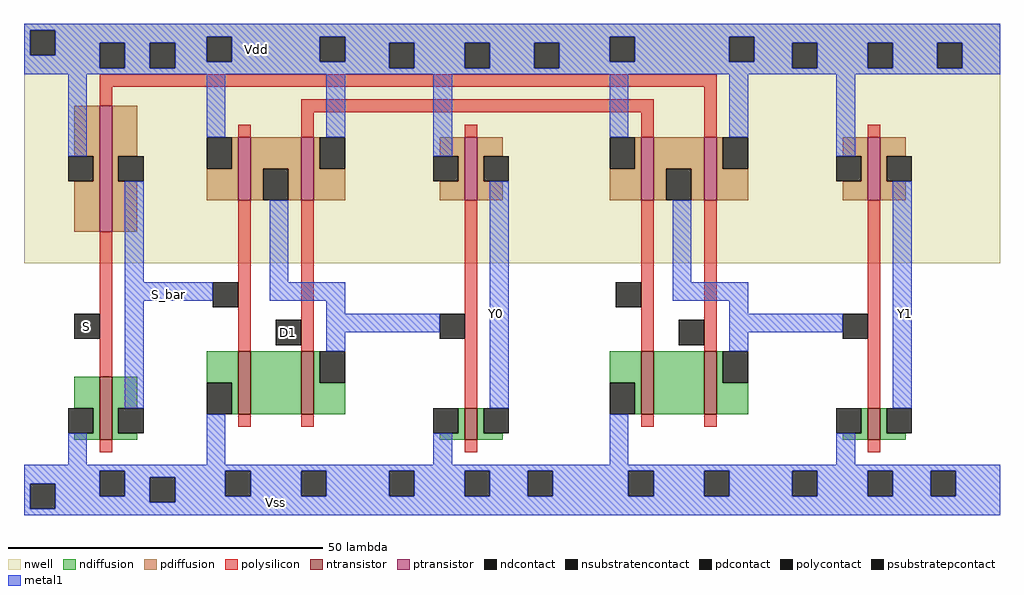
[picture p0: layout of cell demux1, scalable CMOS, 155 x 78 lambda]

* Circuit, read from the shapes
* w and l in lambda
.subckt demux1 D1 S S_bar Vdd Vss Y0 Y1
M1 S_bar S Vss Vss nfet w=10 l=2
M2 n1 S_bar Vss Vss nfet w=10 l=2
M3 n2 D1 n1 Vss nfet w=10 l=2
M4 Y0 n2 Vss Vss nfet w=5 l=2
M5 n3 D1 Vss Vss nfet w=10 l=2
M6 n4 S n3 Vss nfet w=10 l=2
M7 Y1 n4 Vss Vss nfet w=5 l=2
M8 S_bar S Vdd Vdd pfet w=20 l=2
M9 n2 S_bar Vdd Vdd pfet w=10 l=2
M10 Vdd D1 n2 Vdd pfet w=10 l=2
M11 Y0 n2 Vdd Vdd pfet w=10 l=2
M12 n4 D1 Vdd Vdd pfet w=10 l=2
M13 Vdd S n4 Vdd pfet w=10 l=2
M14 Y1 n4 Vdd Vdd pfet w=10 l=2
.ends

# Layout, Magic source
magic
tech scmos
<< nwell >>
rect 0 40 155 78
<< polysilicon >>
rect 12 68 110 70
rect 12 65 14 68
rect 44 64 100 66
rect 34 60 36 62
rect 44 60 46 64
rect 70 60 72 62
rect 98 60 100 64
rect 108 60 110 68
rect 134 60 136 62
rect 12 22 14 45
rect 34 26 36 50
rect 44 26 46 50
rect 70 17 72 50
rect 98 26 100 50
rect 108 26 110 50
rect 34 14 36 16
rect 44 14 46 16
rect 134 17 136 50
rect 98 14 100 16
rect 108 14 110 16
rect 12 10 14 12
rect 70 10 72 12
rect 134 10 136 12
<< ndiffusion >>
rect 8 17 12 22
rect 11 13 12 17
rect 8 12 12 13
rect 14 17 18 22
rect 29 21 34 26
rect 14 13 15 17
rect 33 16 34 21
rect 36 16 44 26
rect 46 21 47 26
rect 46 16 51 21
rect 93 21 98 26
rect 69 13 70 17
rect 14 12 18 13
rect 66 12 70 13
rect 72 13 73 17
rect 97 16 98 21
rect 100 16 108 26
rect 110 21 111 26
rect 110 16 115 21
rect 133 13 134 17
rect 72 12 76 13
rect 130 12 134 13
rect 136 13 137 17
rect 136 12 140 13
<< pdiffusion >>
rect 8 57 12 65
rect 11 53 12 57
rect 8 45 12 53
rect 14 57 18 65
rect 14 53 15 57
rect 33 55 34 60
rect 14 45 18 53
rect 29 50 34 55
rect 36 55 44 60
rect 36 50 38 55
rect 42 50 44 55
rect 46 55 47 60
rect 66 57 70 60
rect 46 50 51 55
rect 69 53 70 57
rect 66 50 70 53
rect 72 57 76 60
rect 72 53 73 57
rect 97 55 98 60
rect 72 50 76 53
rect 93 50 98 55
rect 100 55 108 60
rect 100 50 102 55
rect 106 50 108 55
rect 110 55 111 60
rect 130 57 134 60
rect 110 50 115 55
rect 133 53 134 57
rect 130 50 134 53
rect 136 57 140 60
rect 136 53 137 57
rect 136 50 140 53
<< metal1 >>
rect 0 77 155 78
rect 0 73 1 77
rect 5 76 155 77
rect 5 75 29 76
rect 5 73 12 75
rect 0 71 12 73
rect 16 71 20 75
rect 24 72 29 75
rect 33 72 47 76
rect 51 75 93 76
rect 51 72 58 75
rect 24 71 58 72
rect 62 71 70 75
rect 74 71 81 75
rect 85 72 93 75
rect 97 72 112 76
rect 116 75 155 76
rect 116 72 122 75
rect 85 71 122 72
rect 126 71 134 75
rect 138 71 145 75
rect 149 71 155 75
rect 0 70 155 71
rect 7 57 10 70
rect 29 60 32 70
rect 48 60 51 70
rect 65 57 68 70
rect 93 60 96 70
rect 112 60 115 70
rect 16 37 19 53
rect 129 57 132 70
rect 39 37 42 50
rect 16 34 30 37
rect 16 17 19 34
rect 39 34 51 37
rect 48 32 51 34
rect 48 29 66 32
rect 48 26 51 29
rect 74 17 77 53
rect 103 37 106 50
rect 103 34 115 37
rect 112 32 115 34
rect 112 29 130 32
rect 112 26 115 29
rect 7 8 10 13
rect 29 8 32 16
rect 138 17 141 53
rect 65 8 68 13
rect 93 8 96 16
rect 129 8 132 13
rect 0 7 155 8
rect 0 5 12 7
rect 0 1 1 5
rect 5 3 12 5
rect 16 6 32 7
rect 16 3 20 6
rect 5 2 20 3
rect 24 3 32 6
rect 36 3 44 7
rect 48 3 58 7
rect 62 3 70 7
rect 74 3 80 7
rect 84 3 96 7
rect 100 3 108 7
rect 112 3 122 7
rect 126 3 134 7
rect 138 3 144 7
rect 148 3 155 7
rect 24 2 155 3
rect 5 1 155 2
rect 0 0 155 1
<< ntransistor >>
rect 12 12 14 22
rect 34 16 36 26
rect 44 16 46 26
rect 70 12 72 17
rect 98 16 100 26
rect 108 16 110 26
rect 134 12 136 17
<< ptransistor >>
rect 12 45 14 65
rect 34 50 36 60
rect 44 50 46 60
rect 70 50 72 60
rect 98 50 100 60
rect 108 50 110 60
rect 134 50 136 60
<< polycontact >>
rect 8 28 12 32
rect 30 33 34 37
rect 40 27 44 31
rect 66 28 70 32
rect 94 33 98 37
rect 104 27 108 31
rect 130 28 134 32
<< ndcontact >>
rect 7 13 11 17
rect 15 13 19 17
rect 29 16 33 21
rect 47 21 51 26
rect 65 13 69 17
rect 73 13 77 17
rect 93 16 97 21
rect 111 21 115 26
rect 129 13 133 17
rect 137 13 141 17
<< pdcontact >>
rect 7 53 11 57
rect 15 53 19 57
rect 29 55 33 60
rect 38 50 42 55
rect 47 55 51 60
rect 65 53 69 57
rect 73 53 77 57
rect 93 55 97 60
rect 102 50 106 55
rect 111 55 115 60
rect 129 53 133 57
rect 137 53 141 57
<< psubstratepcontact >>
rect 1 1 5 5
rect 12 3 16 7
rect 20 2 24 6
rect 32 3 36 7
rect 44 3 48 7
rect 58 3 62 7
rect 70 3 74 7
rect 80 3 84 7
rect 96 3 100 7
rect 108 3 112 7
rect 122 3 126 7
rect 134 3 138 7
rect 144 3 148 7
<< nsubstratencontact >>
rect 1 73 5 77
rect 12 71 16 75
rect 20 71 24 75
rect 29 72 33 76
rect 47 72 51 76
rect 58 71 62 75
rect 70 71 74 75
rect 81 71 85 75
rect 93 72 97 76
rect 112 72 116 76
rect 122 71 126 75
rect 134 71 138 75
rect 145 71 149 75
<< labels >>
rlabel polycontact 10 30 10 30 1 S
rlabel metal1 37 74 37 74 5 Vdd
rlabel metal1 40 2 40 2 1 Vss
rlabel metal1 23 35 23 35 1 S_bar
rlabel metal1 75 32 75 32 1 Y0
rlabel metal1 140 32 140 32 1 Y1
rlabel polycontact 42 29 42 29 1 D1
<< end >>
